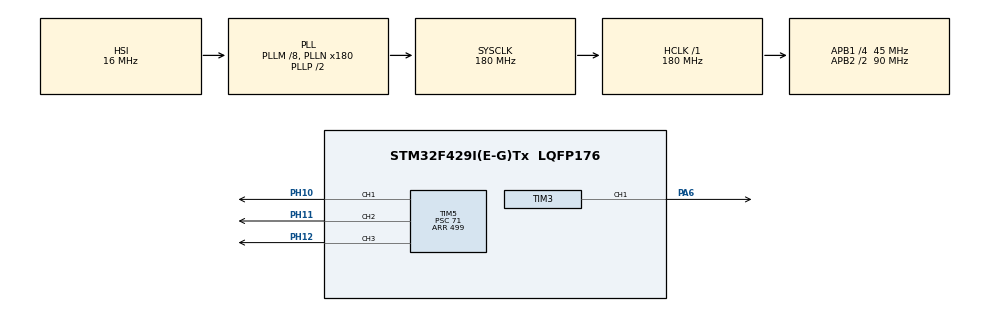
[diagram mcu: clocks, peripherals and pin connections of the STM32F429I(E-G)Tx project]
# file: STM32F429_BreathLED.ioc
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Mcu.Family=STM32F4
Mcu.Name=STM32F429I(E-G)Tx
Mcu.Package=LQFP176
NVIC.PriorityGroup=NVIC_PRIORITYGROUP_4
NVIC.TIM7_IRQn=true\:15\:0\:false\:false\:true\:false\:true\:true
NVIC.TimeBase=TIM7_IRQn
NVIC.TimeBaseIP=TIM7
PA13.Mode=JTAG_5_pins
PA13.Signal=SYS_JTMS-SWDIO
PA14.Mode=JTAG_5_pins
PA14.Signal=SYS_JTCK-SWCLK
PA15.Mode=JTAG_5_pins
PA15.Signal=SYS_JTDI
PA6.Signal=S_TIM3_CH1
PB3.Mode=JTAG_5_pins
PB3.Signal=SYS_JTDO-SWO
PB4.Mode=JTAG_5_pins
PB4.Signal=SYS_JTRST
PH0/OSC_IN.Mode=HSE-External-Oscillator
PH0/OSC_IN.Signal=RCC_OSC_IN
PH1/OSC_OUT.Mode=HSE-External-Oscillator
PH1/OSC_OUT.Signal=RCC_OSC_OUT
PH10.Signal=S_TIM5_CH1
PH11.Signal=S_TIM5_CH2
PH12.Signal=S_TIM5_CH3
ProjectManager.HeapSize=0x200
ProjectManager.StackSize=0x400
ProjectManager.TargetToolchain=MDK-ARM V5
RCC.48MHZClocksFreq_Value=90000000
RCC.AHBFreq_Value=180000000
RCC.APB1CLKDivider=RCC_HCLK_DIV4
RCC.APB1Freq_Value=45000000
RCC.APB1TimFreq_Value=90000000
RCC.APB2CLKDivider=RCC_HCLK_DIV2
RCC.APB2Freq_Value=90000000
RCC.APB2TimFreq_Value=180000000
RCC.CortexFreq_Value=180000000
RCC.HCLKFreq_Value=180000000
RCC.HSE_VALUE=25000000
RCC.HSI_VALUE=16000000
RCC.LSE_VALUE=32768
RCC.PLLM=8
RCC.PLLN=180
RCC.SYSCLKFreq_VALUE=180000000
RCC.SYSCLKSource=RCC_SYSCLKSOURCE_PLLCLK
RCC.VCOOutputFreq_Value=360000000
SH.S_TIM3_CH1.0=TIM3_CH1,PWM Generation1 CH1
SH.S_TIM5_CH1.0=TIM5_CH1,PWM Generation1 CH1
SH.S_TIM5_CH2.0=TIM5_CH2,PWM Generation2 CH2
SH.S_TIM5_CH3.0=TIM5_CH3,PWM Generation3 CH3
TIM3.AutoReloadPreload=TIM_AUTORELOAD_PRELOAD_ENABLE
TIM3.Channel-PWM\ Generation1\ CH1=TIM_CHANNEL_1
TIM3.OCPolarity_1=TIM_OCPOLARITY_LOW
TIM3.Period=499
TIM3.Prescaler=71
TIM5.AutoReloadPreload=TIM_AUTORELOAD_PRELOAD_ENABLE
TIM5.Channel-PWM\ Generation1\ CH1=TIM_CHANNEL_1
TIM5.Channel-PWM\ Generation2\ CH2=TIM_CHANNEL_2
TIM5.Channel-PWM\ Generation3\ CH3=TIM_CHANNEL_3
TIM5.OCPolarity_1=TIM_OCPOLARITY_LOW
TIM5.Period=499
TIM5.Prescaler=71
VP_SYS_VS_tim7.Mode=TIM7
VP_TIM3_VS_ClockSourceINT.Mode=Internal
VP_TIM5_VS_ClockSourceINT.Mode=Internal
board=custom

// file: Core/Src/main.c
/* USER CODE BEGIN Header */
/**
  ******************************************************************************
  * @file           : main.c
  * @brief          : Main program body
  ******************************************************************************
  * @attention
  *
  * Copyright (c) 2024 STMicroelectronics.
  * All rights reserved.
  *
  * This software is licensed under terms that can be found in the LICENSE file
  * in the root directory of this software component.
  * If no LICENSE file comes with this software, it is provided AS-IS.
  *
  ******************************************************************************
  */
/* USER CODE END Header */
#include "main.h"
#include "tim.h"
#include "gpio.h"

void SystemClock_Config(void);

int main(void)
{
  /* USER CODE BEGIN 1 */
    uint16_t pwmVal = 0;
  /* USER CODE END 1 */

  /* MCU Configuration--------------------------------------------------------*/

  /* Reset of all peripherals, Initializes the Flash interface and the Systick. */
  HAL_Init();

  /* Configure the system clock */
  SystemClock_Config();

  /* Initialize all configured peripherals */
  MX_GPIO_Init();
  MX_TIM3_Init();
  MX_TIM5_Init();
  /* USER CODE BEGIN 2 */
  HAL_TIM_PWM_Start(&htim5,TIM_CHANNEL_1);
  HAL_TIM_PWM_Start(&htim5,TIM_CHANNEL_2);
  HAL_TIM_PWM_Start(&htim5,TIM_CHANNEL_3);
  /* USER CODE END 2 */

  /* Infinite loop */
  /* USER CODE BEGIN WHILE */
  while (1)
  {
        while (pwmVal< 500)
        {
            pwmVal++;
            __HAL_TIM_SetCompare(&htim5, TIM_CHANNEL_1, pwmVal);
            HAL_Delay(1);
            __HAL_TIM_SetCompare(&htim5, TIM_CHANNEL_2, pwmVal);
            HAL_Delay(1);
            __HAL_TIM_SetCompare(&htim5, TIM_CHANNEL_3, pwmVal);
            HAL_Delay(1);
        }
	    while (pwmVal)
        {
            pwmVal--;
            __HAL_TIM_SetCompare(&htim5, TIM_CHANNEL_1, pwmVal);
            HAL_Delay(1);
            __HAL_TIM_SetCompare(&htim5, TIM_CHANNEL_2, pwmVal);
            HAL_Delay(1);
            __HAL_TIM_SetCompare(&htim5, TIM_CHANNEL_3, pwmVal);
            HAL_Delay(1);
	    }
        HAL_Delay(200);
    /* USER CODE END WHILE */

  }
}

void SystemClock_Config(void)
{
  RCC_OscInitTypeDef RCC_OscInitStruct = {0};
  RCC_ClkInitTypeDef RCC_ClkInitStruct = {0};

  /** Configure the main internal regulator output voltage
  */
  __HAL_RCC_PWR_CLK_ENABLE();
  __HAL_PWR_VOLTAGESCALING_CONFIG(PWR_REGULATOR_VOLTAGE_SCALE1);

  /** Initializes the RCC Oscillators according to the specified parameters
  * in the RCC_OscInitTypeDef structure.
  */
  RCC_OscInitStruct.OscillatorType = RCC_OSCILLATORTYPE_HSI;
  RCC_OscInitStruct.HSIState = RCC_HSI_ON;
  RCC_OscInitStruct.HSICalibrationValue = RCC_HSICALIBRATION_DEFAULT;
  RCC_OscInitStruct.PLL.PLLState = RCC_PLL_ON;
  RCC_OscInitStruct.PLL.PLLSource = RCC_PLLSOURCE_HSI;
  RCC_OscInitStruct.PLL.PLLM = 8;
  RCC_OscInitStruct.PLL.PLLN = 180;
  RCC_OscInitStruct.PLL.PLLP = RCC_PLLP_DIV2;
  RCC_OscInitStruct.PLL.PLLQ = 4;
  if (HAL_RCC_OscConfig(&RCC_OscInitStruct) != HAL_OK)
  {
    Error_Handler();
  }

  /** Activate the Over-Drive mode
  */
  if (HAL_PWREx_EnableOverDrive() != HAL_OK)
  {
    Error_Handler();
  }

  /** Initializes the CPU, AHB and APB buses clocks
  */
  RCC_ClkInitStruct.ClockType = RCC_CLOCKTYPE_HCLK|RCC_CLOCKTYPE_SYSCLK
                              |RCC_CLOCKTYPE_PCLK1|RCC_CLOCKTYPE_PCLK2;
  RCC_ClkInitStruct.SYSCLKSource = RCC_SYSCLKSOURCE_PLLCLK;
  RCC_ClkInitStruct.AHBCLKDivider = RCC_SYSCLK_DIV1;
  RCC_ClkInitStruct.APB1CLKDivider = RCC_HCLK_DIV4;
  RCC_ClkInitStruct.APB2CLKDivider = RCC_HCLK_DIV2;

  if (HAL_RCC_ClockConfig(&RCC_ClkInitStruct, FLASH_LATENCY_5) != HAL_OK)
  {
    Error_Handler();
  }
}

void HAL_TIM_PeriodElapsedCallback(TIM_HandleTypeDef *htim)
{
  if (htim->Instance == TIM7) {
    HAL_IncTick();
  }
}

void Error_Handler(void)
{
  __disable_irq();
  while (1)
  {
  }
}
